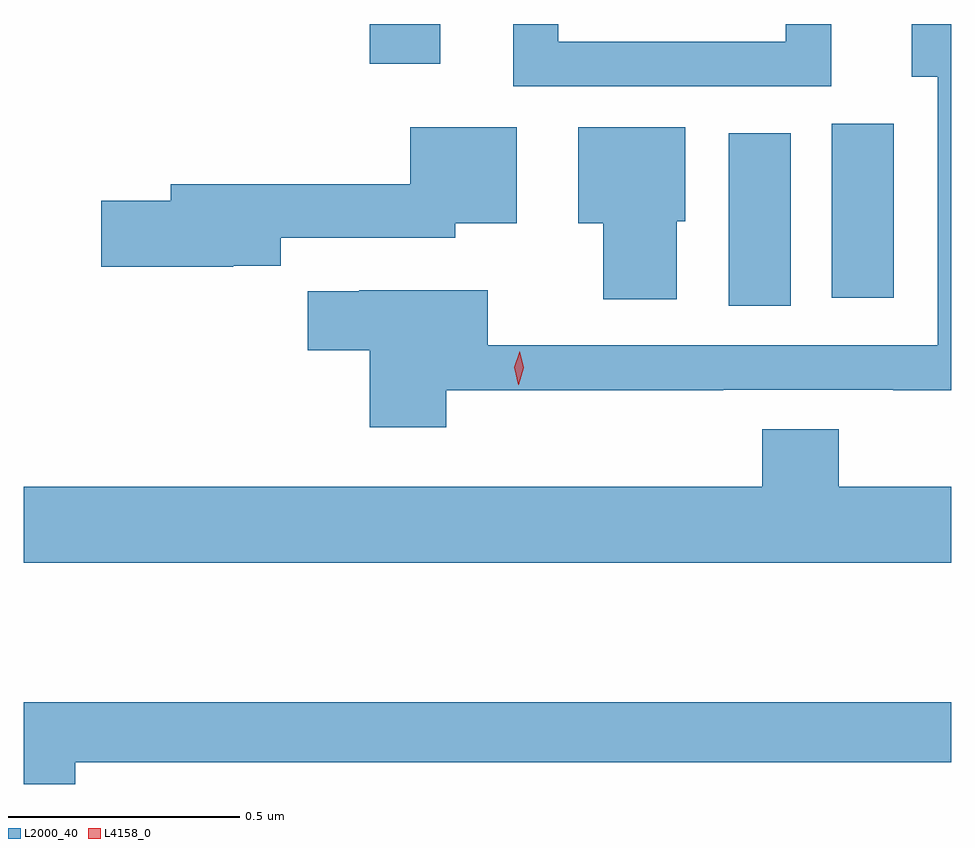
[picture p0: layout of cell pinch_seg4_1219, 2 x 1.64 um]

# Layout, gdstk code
import gdstk
lib = gdstk.Library(unit=1e-6, precision=1e-09)
def R(c, l, rs):  # rectangles x0, y0, x1, y1
    for r in rs: c.add(gdstk.rectangle(r[:2], r[2:], *l))
def P(c, l, *ps):  # polygons
    for p in ps: c.add(gdstk.Polygon(p, *l))
L2000_40 = (2000, 40)
L4158_0 = (4158, 0)

pinch_seg4_1219 = lib.new_cell('pinch_seg4_1219')
R(pinch_seg4_1219, L2000_40, [(593.15,778.726,593.284,779.098), (593.372,778.743,593.506,779.118), (592.376,779.247,592.528,779.333)])
P(pinch_seg4_1219, L2000_40, [(592.541,778.544),(593.138,778.544),(593.138,778.545),(593.504,778.545),(593.504,778.544),(593.63,778.544),(593.63,779.333),(593.544,779.333),(593.544,779.219),(593.6,779.219),(593.6,778.641),(592.63,778.641),(592.63,778.759),(592.354,778.759),(592.354,778.757),(592.243,778.757),(592.243,778.63),(592.376,778.63),(592.376,778.464),(592.541,778.464)],
  [(593.371,779.333),(593.273,779.333),(593.273,779.295),(592.783,779.295),(592.783,779.333),(592.685,779.333),(592.685,779.199),(593.371,779.199)],
  [(592.082,778.812),(592.184,778.812),(592.184,778.872),(592.56,778.872),(592.56,778.904),(592.693,778.904),(592.693,779.11),(592.464,779.11),(592.464,778.988),(591.947,778.988),(591.947,778.952),(591.798,778.952),(591.798,778.81),(592.082,778.81)],
  [(593.038,778.908),(593.056,778.908),(593.056,779.11),(592.826,779.11),(592.826,778.904),(592.88,778.904),(592.88,778.74),(593.038,778.74)],
  [(593.63,778.336),(593.387,778.336),(593.387,778.46),(593.222,778.46),(593.222,778.336),(591.63,778.336),(591.63,778.172),(593.63,778.172)],
  [(591.742,777.742),(593.63,777.742),(593.63,777.871),(591.63,777.871),(591.63,777.695),(591.742,777.695)])
P(pinch_seg4_1219, L4158_0, [(592.696,778.556),(592.688,778.593),(592.699,778.628),(592.7,778.628),(592.7,778.628),(592.708,778.592),(592.697,778.556),(592.697,778.556)])

lib.write_gds('pinch_seg4_1219.gds')
